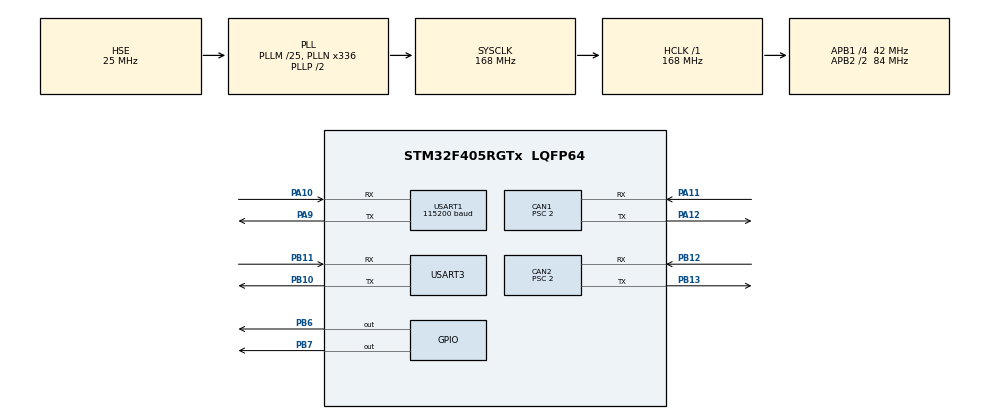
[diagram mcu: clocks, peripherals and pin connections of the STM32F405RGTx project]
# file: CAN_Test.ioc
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CAN1.ABOM=ENABLE
CAN1.AWUM=ENABLE
CAN1.BS1=CAN_BS1_16TQ
CAN1.BS2=CAN_BS2_4TQ
CAN1.CalculateBaudRate=1000000
CAN1.CalculateTimeBit=1000
CAN1.CalculateTimeQuantum=47.61904761904762
CAN1.Prescaler=2
CAN2.ABOM=ENABLE
CAN2.AWUM=ENABLE
CAN2.BS1=CAN_BS1_16TQ
CAN2.BS2=CAN_BS2_4TQ
CAN2.CalculateBaudRate=1000000
CAN2.CalculateTimeBit=1000
CAN2.CalculateTimeQuantum=47.61904761904762
CAN2.Prescaler=2
FREERTOS.Tasks01=defaultTask,0,128,StartDefaultTask,Default,NULL,Dynamic,NULL,NULL;printf_data,1,128,StartTask02,Default,NULL,Dynamic,NULL,NULL;protect,3,128,remote_protect,Default,NULL,Dynamic,NULL,NULL;bopan_change_po,1,128,bopan_change_position,Default,NULL,Dynamic,NULL,NULL
FREERTOS.configTOTAL_HEAP_SIZE=15360
Mcu.Family=STM32F4
Mcu.Name=STM32F405RGTx
Mcu.Package=LQFP64
NVIC.CAN1_RX0_IRQn=true\:5\:0\:true\:false\:true\:true\:true\:true\:true
NVIC.CAN2_RX1_IRQn=true\:5\:0\:true\:false\:true\:true\:true\:true\:true
NVIC.PriorityGroup=NVIC_PRIORITYGROUP_4
NVIC.TIM1_UP_TIM10_IRQn=true\:15\:0\:false\:false\:true\:false\:false\:true\:true
NVIC.TimeBase=TIM1_UP_TIM10_IRQn
NVIC.TimeBaseIP=TIM1
NVIC.USART3_IRQn=true\:6\:0\:true\:false\:true\:true\:true\:true\:true
PA10.Mode=Asynchronous
PA10.Signal=USART1_RX
PA11.Mode=CAN_Activate
PA11.Signal=CAN1_RX
PA12.Mode=CAN_Activate
PA12.Signal=CAN1_TX
PA13.Mode=Serial_Wire
PA13.Signal=SYS_JTMS-SWDIO
PA14.Mode=Serial_Wire
PA14.Signal=SYS_JTCK-SWCLK
PA9.Mode=Asynchronous
PA9.Signal=USART1_TX
PB10.Mode=Asynchronous
PB10.Signal=USART3_TX
PB11.Mode=Asynchronous
PB11.Signal=USART3_RX
PB12.Mode=CAN_Activate
PB12.Signal=CAN2_RX
PB13.Mode=CAN_Activate
PB13.Signal=CAN2_TX
PB6.GPIO_Speed=GPIO_SPEED_FREQ_HIGH
PB6.Signal=GPIO_Output
PB7.GPIO_Speed=GPIO_SPEED_FREQ_HIGH
PB7.Signal=GPIO_Output
PC14-OSC32_IN.Mode=LSE-External-Oscillator
PC14-OSC32_IN.Signal=RCC_OSC32_IN
PC15-OSC32_OUT.Mode=LSE-External-Oscillator
PC15-OSC32_OUT.Signal=RCC_OSC32_OUT
PH0-OSC_IN.Mode=HSE-External-Oscillator
PH0-OSC_IN.Signal=RCC_OSC_IN
PH1-OSC_OUT.Mode=HSE-External-Oscillator
PH1-OSC_OUT.Signal=RCC_OSC_OUT
ProjectManager.HeapSize=0x200
ProjectManager.StackSize=0x400
ProjectManager.TargetToolchain=MDK-ARM V5.32
RCC.48MHZClocksFreq_Value=84000000
RCC.AHBFreq_Value=168000000
RCC.APB1CLKDivider=RCC_HCLK_DIV4
RCC.APB1Freq_Value=42000000
RCC.APB1TimFreq_Value=84000000
RCC.APB2CLKDivider=RCC_HCLK_DIV2
RCC.APB2Freq_Value=84000000
RCC.APB2TimFreq_Value=168000000
RCC.CortexFreq_Value=168000000
RCC.HCLKFreq_Value=168000000
RCC.HSE_VALUE=25000000
RCC.HSI_VALUE=16000000
RCC.PLLM=25
RCC.PLLN=336
RCC.PLLSourceVirtual=RCC_PLLSOURCE_HSE
RCC.SYSCLKFreq_VALUE=168000000
RCC.SYSCLKSource=RCC_SYSCLKSOURCE_PLLCLK
RCC.VCOOutputFreq_Value=336000000
USART1.BaudRate=115200
USART1.VirtualMode=VM_ASYNC
USART3.VirtualMode=VM_ASYNC
VP_FREERTOS_VS_CMSIS_V1.Mode=CMSIS_V1
VP_SYS_VS_tim1.Mode=TIM1
board=custom

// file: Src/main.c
/* USER CODE BEGIN Header */
/**
  ******************************************************************************
  * @file           : main.c
  * @brief          : Main program body
  ******************************************************************************
  * @attention
  *
  * Copyright (c) 2025 STMicroelectronics.
  * All rights reserved.
  *
  * This software is licensed under terms that can be found in the LICENSE file
  * in the root directory of this software component.
  * If no LICENSE file comes with this software, it is provided AS-IS.
  *
  ******************************************************************************
  */
/* USER CODE END Header */
#include "main.h"
#include "cmsis_os.h"
#include "can.h"
#include "usart.h"
#include "gpio.h"

/* USER CODE BEGIN Includes */
#include "FS_remote_control_unit.h"
#include "IIC.h"
#include "inv_mpu.h"
#include "inv_mpu_dmp_motion_driver.h"
#include "mpu6050.h"
/* USER CODE END Includes */

/* USER CODE BEGIN PV */
extern uint8_t rx_buffer[32];
int flag;
/* USER CODE END PV */

void SystemClock_Config(void);
void MX_FREERTOS_Init(void);
/* USER CODE BEGIN PFP */
void can_filter_init(void);
/* USER CODE END PFP */

int main(void)
{

  /* MCU Configuration--------------------------------------------------------*/

  /* Reset of all peripherals, Initializes the Flash interface and the Systick. */
  HAL_Init();

  /* Configure the system clock */
  SystemClock_Config();

  /* Initialize all configured peripherals */
  MX_GPIO_Init();
  MX_CAN1_Init();
  MX_USART1_UART_Init();
  MX_USART3_UART_Init();
  MX_CAN2_Init();
  /* USER CODE BEGIN 2 */
	can_filter_init();
	MPU_Init();
	flag=mpu_dmp_init();
	// 开始接收 IBUS 数据
    HAL_UART_Receive_IT(&huart3, rx_buffer, 32);
  /* USER CODE END 2 */

  /* Call init function for freertos objects (in cmsis_os2.c) */
  MX_FREERTOS_Init();

  /* Start scheduler */
  osKernelStart();

  /* We should never get here as control is now taken by the scheduler */

  /* Infinite loop */
  while (1)
  {

  }
}

void SystemClock_Config(void)
{
  RCC_OscInitTypeDef RCC_OscInitStruct = {0};
  RCC_ClkInitTypeDef RCC_ClkInitStruct = {0};

  /** Configure the main internal regulator output voltage
  */
  __HAL_RCC_PWR_CLK_ENABLE();
  __HAL_PWR_VOLTAGESCALING_CONFIG(PWR_REGULATOR_VOLTAGE_SCALE1);

  /** Initializes the RCC Oscillators according to the specified parameters
  * in the RCC_OscInitTypeDef structure.
  */
  RCC_OscInitStruct.OscillatorType = RCC_OSCILLATORTYPE_HSE;
  RCC_OscInitStruct.HSEState = RCC_HSE_ON;
  RCC_OscInitStruct.PLL.PLLState = RCC_PLL_ON;
  RCC_OscInitStruct.PLL.PLLSource = RCC_PLLSOURCE_HSE;
  RCC_OscInitStruct.PLL.PLLM = 25;
  RCC_OscInitStruct.PLL.PLLN = 336;
  RCC_OscInitStruct.PLL.PLLP = RCC_PLLP_DIV2;
  RCC_OscInitStruct.PLL.PLLQ = 4;
  if (HAL_RCC_OscConfig(&RCC_OscInitStruct) != HAL_OK)
  {
    Error_Handler();
  }

  /** Initializes the CPU, AHB and APB buses clocks
  */
  RCC_ClkInitStruct.ClockType = RCC_CLOCKTYPE_HCLK|RCC_CLOCKTYPE_SYSCLK
                              |RCC_CLOCKTYPE_PCLK1|RCC_CLOCKTYPE_PCLK2;
  RCC_ClkInitStruct.SYSCLKSource = RCC_SYSCLKSOURCE_PLLCLK;
  RCC_ClkInitStruct.AHBCLKDivider = RCC_SYSCLK_DIV1;
  RCC_ClkInitStruct.APB1CLKDivider = RCC_HCLK_DIV4;
  RCC_ClkInitStruct.APB2CLKDivider = RCC_HCLK_DIV2;

  if (HAL_RCC_ClockConfig(&RCC_ClkInitStruct, FLASH_LATENCY_5) != HAL_OK)
  {
    Error_Handler();
  }
}

/* USER CODE BEGIN 4 */
void can_filter_init(void)
{
    CAN_FilterTypeDef can_filter_st;
    can_filter_st.FilterActivation = ENABLE;//Can1_filter_Init
    can_filter_st.FilterMode = CAN_FILTERMODE_IDMASK;
    can_filter_st.FilterScale = CAN_FILTERSCALE_32BIT;
    can_filter_st.FilterIdHigh = 0x0000;
    can_filter_st.FilterIdLow = 0x0000;
    can_filter_st.FilterMaskIdHigh = 0x0000;
    can_filter_st.FilterMaskIdLow = 0x0000;

    can_filter_st.FilterBank = 0;//Can1
    can_filter_st.FilterFIFOAssignment = CAN_RX_FIFO0;
    HAL_CAN_ConfigFilter(&hcan1, &can_filter_st);
    HAL_CAN_Start(&hcan1);
    HAL_CAN_ActivateNotification(&hcan1, CAN_IT_RX_FIFO0_MSG_PENDING);

		can_filter_st.FilterActivation = ENABLE;//Can2_filter_Init
    can_filter_st.FilterMode = CAN_FILTERMODE_IDMASK;
    can_filter_st.FilterScale = CAN_FILTERSCALE_32BIT;
    can_filter_st.FilterIdHigh = 0x0000;
    can_filter_st.FilterIdLow = 0x0000;
    can_filter_st.FilterMaskIdHigh = 0x0000;
    can_filter_st.FilterMaskIdLow = 0x0000;

    can_filter_st.FilterBank = 14;//Can2
		can_filter_st.SlaveStartFilterBank=14;
    can_filter_st.FilterFIFOAssignment = CAN_RX_FIFO1;
    HAL_CAN_ConfigFilter(&hcan2, &can_filter_st);
    HAL_CAN_Start(&hcan2);
    HAL_CAN_ActivateNotification(&hcan2, CAN_IT_RX_FIFO1_MSG_PENDING);
//	if(HAL_CAN_ActivateNotification(&hcan1, CAN_IT_RX_FIFO0_MSG_PENDING)!=HAL_OK)
//	{
//		printf("CAN_IT_Failed\n");
//	}
//	else
//	{
//		printf("CAN_IT_Success\n");
//	}

//		printf("can_filter_init_success\n");
}
/* USER CODE END 4 */

void HAL_TIM_PeriodElapsedCallback(TIM_HandleTypeDef *htim)
{
  if (htim->Instance == TIM1)
  {
    HAL_IncTick();
  }
}

void Error_Handler(void)
{
  __disable_irq();
  while (1)
  {
  }
}

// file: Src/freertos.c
/* USER CODE BEGIN Header */
/**
  ******************************************************************************
  * File Name          : freertos.c
  * Description        : Code for freertos applications
  ******************************************************************************
  * @attention
  *
  * Copyright (c) 2025 STMicroelectronics.
  * All rights reserved.
  *
  * This software is licensed under terms that can be found in the LICENSE file
  * in the root directory of this software component.
  * If no LICENSE file comes with this software, it is provided AS-IS.
  *
  ******************************************************************************
  */
/* USER CODE END Header */

//git branch dev
#include "FreeRTOS.h"
#include "task.h"
#include "main.h"
#include "cmsis_os.h"

/* USER CODE BEGIN Includes */
#include "usart.h"
#include "PID.h"
#include "inv_mpu.h"
#include "mpu6050.h"
#include "PID.h"
#include "inv_mpu.h"
#include "mpu6050.h"
//void can_filter_init(void);
/* USER CODE END Includes */

/* USER CODE BEGIN PD */
#define Remote_Protected_MAX_time 100//这里需要根据实际情况调整
/* USER CODE END PD */

/* USER CODE BEGIN Variables */
/*各个获取的数据*/
/*pitch电机*/
int16_t pitch_GetSpeed=0,pitch_GetAngle=0,pitch_GetCurrent=0,pitch_GetTemperature=0;
int16_t pitch_Last_Get_Real_Angle=0,pitch_Get_Real_Angle=0;//获取的真实值
/*yaw电机*/
int16_t yaw_GetSpeed=0,yaw_GetAngle=0,yaw_GetCurrent=0,yaw_GetTemperature=0;
int16_t yaw_Last_Get_Real_Angle=0,yaw_Get_Real_Angle=0;
/*左摩擦轮*/
int16_t left_mocan_GetSpeed=0,left_mocan_GetAngle=0,left_mocan_GetCurrent=0,left_mocan_GetTemperature=0;
int16_t left_mocan_Last_Get_Real_Angle=0,left_mocan_Get_Real_Angle=0;
/*右摩擦轮*/
int16_t right_mocan_GetSpeed=0,right_mocan_GetAngle=0,right_mocan_GetCurrent=0,right_mocan_GetTemperature=0;
int16_t right_mocan_Last_Get_Real_Angle=0,right_mocan_Get_Real_Angle=0;
/*拨盘电机*/
int16_t bopan_GetSpeed=0,bopan_GetCurrent=0,bopan_GetTemperature=0;
long long bopan_GetAngle=0;
int16_t bopan_Last_Get_Real_Angle=0,bopan_Get_Real_Angle=0;
short bopan_mode=0;//拨盘的模式，1是单发，2是连发
/*mpu的数据*/
float pitch,yaw,roll;
short pitch_speed,yaw_speed,roll_speed;

int16_t SetVoltage=12500;//这里是电压值。电压给定值范围：-25000~0~25000, 对应最大转矩电流范围 -3A~0~3A
int8_t pitch_number1=0,yaw_number2=0;//这里是圈数
int16_t bopan_number3=0;//这里是圈数

/*实验值*/
int16_t setspeed=150;
int16_t pitch_setposition=0;
int16_t yaw_setposition=0;
int16_t inner_yaw_setposition=0;
uint32_t bopan_setposition=0;

/*遥控保护标志位*/
uint8_t remote_protect_flag=0;//0是开启，1是关闭

/*其他的数据*/
int16_t times=0;//时间遥控保护

int16_t ABD=0;//圈数

extern uint8_t rx_buffer[32];//接收缓冲

extern uint16_t channels[32];//接收通道
extern uint16_t last_channels[32];

MOTOR_t pitch_motor_6020,inner_pitch_motor_6020,yaw_motor_6020,inner_yaw_motor_6020,left_mocan_2006,right_mocan_2006,bopan_3508,inner_bopan_3508;

//int pitch_motor_give_Voltage=0,yaw_give_Voltage=0,left_mocan_give_Voltage=0,right_mocan_give_Voltage=0,bopan_give_Voltage=0;

//uint16_t pitch
/* USER CODE END Variables */
osThreadId defaultTaskHandle;
osThreadId printf_dataHandle;
osThreadId protectHandle;
osThreadId bopan_change_poHandle;

void StartDefaultTask(void const * argument);
void StartTask02(void const * argument);
void remote_protect(void const * argument);
void bopan_change_position(void const * argument);

void MX_FREERTOS_Init(void); /* (MISRA C 2004 rule 8.1) */

/* GetIdleTaskMemory prototype (linked to static allocation support) */
void vApplicationGetIdleTaskMemory( StaticTask_t **ppxIdleTaskTCBBuffer, StackType_t **ppxIdleTaskStackBuffer, uint32_t *pulIdleTaskStackSize );

/* USER CODE BEGIN GET_IDLE_TASK_MEMORY */
static StaticTask_t xIdleTaskTCBBuffer;
static StackType_t xIdleStack[configMINIMAL_STACK_SIZE];

void vApplicationGetIdleTaskMemory( StaticTask_t **ppxIdleTaskTCBBuffer, StackType_t **ppxIdleTaskStackBuffer, uint32_t *pulIdleTaskStackSize )
{
  *ppxIdleTaskTCBBuffer = &xIdleTaskTCBBuffer;
  *ppxIdleTaskStackBuffer = &xIdleStack[0];
  *pulIdleTaskStackSize = configMINIMAL_STACK_SIZE;
  /* place for user code */
}
/* USER CODE END GET_IDLE_TASK_MEMORY */

void MX_FREERTOS_Init(void) {

  /* Create the thread(s) */
  /* definition and creation of defaultTask */
  osThreadDef(defaultTask, StartDefaultTask, osPriorityNormal, 0, 256);
  defaultTaskHandle = osThreadCreate(osThread(defaultTask), NULL);

  /* definition and creation of printf_data */
  osThreadDef(printf_data, StartTask02, osPriorityAboveNormal, 0, 128);
  printf_dataHandle = osThreadCreate(osThread(printf_data), NULL);

  /* definition and creation of protect */
  osThreadDef(protect, remote_protect, osPriorityRealtime, 0, 128);
  protectHandle = osThreadCreate(osThread(protect), NULL);

  /* definition and creation of bopan_change_po */
  osThreadDef(bopan_change_po, bopan_change_position, osPriorityAboveNormal, 0, 128);
  bopan_change_poHandle = osThreadCreate(osThread(bopan_change_po), NULL);

}

void StartDefaultTask(void const * argument)//这个是motor任务的代码
{
  /* USER CODE BEGIN StartDefaultTask */
	MOTOR_Init(&pitch_motor_6020);//赋予相应的PID值以及最大输出值
	MOTOR_Init(&yaw_motor_6020);
	MOTOR_Init(&left_mocan_2006);
	MOTOR_Init(&right_mocan_2006);
	MOTOR_Init(&bopan_3508);
	MOTOR_Init(&inner_pitch_motor_6020);
	MOTOR_Init(&inner_yaw_motor_6020);
	MOTOR_Init(&inner_bopan_3508);

	channels[1]=1500;
	channels[3]=1500;
	inner_pitch_motor_6020.give_Voltage=0;//默认上电就给电压为0
	inner_yaw_motor_6020.give_Voltage=0;
	left_mocan_2006.give_Voltage=0;
	right_mocan_2006.give_Voltage=0;
	inner_bopan_3508.give_Voltage=0;
  /* Infinite loop */
	for(;;)
  {
    //如果正常遥控的话，就计算给电压的值,否则就保护
		if(remote_protect_flag)
		{
			/*摩擦轮*/
			left_mocan_2006.Set_speed=(channels[1]-1500)*6000/500;
//			left_mocan_2006.Set_speed=setspeed;
			left_mocan_2006.speed=left_mocan_GetSpeed;//速度环
			left_mocan_2006.give_Voltage=(int16_t)PID_Speed_Calculate(&left_mocan_2006.speed_PID,left_mocan_2006.speed,left_mocan_2006.Set_speed);

		right_mocan_2006.Set_speed=(channels[1]-1500)*6000/500;
//			right_mocan_2006.Set_speed=setspeed;
			right_mocan_2006.speed=right_mocan_GetSpeed;//速度环
			right_mocan_2006.give_Voltage=(int16_t)PID_Speed_Calculate(&right_mocan_2006.speed_PID,right_mocan_2006.speed,right_mocan_2006.Set_speed);

    /*pitch和yaw轴*/
//		pitch_motor_6020.position=pitch_GetAngle;//位置环//高低
//		pitch_motor_6020.Set_position=(channels[2]-1000)*30/1000;
		pitch_motor_6020.position=pitch;//pitch外环（位置环）
		pitch_motor_6020.Set_position=pitch_setposition;
		pitch_motor_6020.give_Voltage=(int16_t)PID_Position_Calculate(&pitch_motor_6020.position_PID,pitch_motor_6020.position,pitch_motor_6020.Set_position);
		inner_pitch_motor_6020.speed=pitch_GetSpeed;//pitch内环（速度环）
		inner_pitch_motor_6020.Set_speed=pitch_motor_6020.give_Voltage;
		inner_pitch_motor_6020.give_Voltage=(int16_t)PID_Speed_Calculate(&inner_pitch_motor_6020.speed_PID,inner_pitch_motor_6020.speed,inner_pitch_motor_6020.Set_speed);

//		yaw_motor_6020.position=yaw_GetAngle;//位置环//左右
//		yaw_motor_6020.Set_position=(channels[0]-1000)*360/1000;
		yaw_motor_6020.position=yaw;//yaw外环（位置环）
		yaw_motor_6020.Set_position=yaw_setposition;
		yaw_motor_6020.give_Voltage=(int16_t)PID_Position_Calculate(&yaw_motor_6020.position_PID,yaw_motor_6020.position,yaw_motor_6020.Set_position);
		inner_yaw_motor_6020.speed=yaw_GetSpeed;//yaw内环（速度环）
		inner_yaw_motor_6020.Set_speed=yaw_motor_6020.give_Voltage;
//		inner_yaw_motor_6020.Set_speed=inner_yaw_setposition;
		inner_yaw_motor_6020.give_Voltage=(int16_t)PID_Speed_Calculate(&inner_yaw_motor_6020.speed_PID,inner_yaw_motor_6020.speed,inner_yaw_motor_6020.Set_speed);

		/*拨盘电机*/
//		bopan_3508.position=bopan_GetAngle;//位置环//左右
//		bopan_3508.Set_position=(channels[3]-1000)*360/1000;//这里的通道尚未确定，先给为3通道

		bopan_3508.position=bopan_GetAngle;//bopan外环（位置环）
		bopan_3508.Set_position=bopan_setposition;
		bopan_3508.give_Voltage=(int16_t)PID_Position_Calculate(&bopan_3508.position_PID,bopan_3508.position,bopan_3508.Set_position);
		inner_bopan_3508.speed=bopan_GetSpeed;//bopan内环（速度环）
		inner_bopan_3508.Set_speed=bopan_3508.give_Voltage;
		inner_bopan_3508.give_Voltage=(int16_t)PID_Speed_Calculate(&inner_bopan_3508.speed_PID,inner_bopan_3508.speed,inner_bopan_3508.Set_speed);
		}
		else//否则保护
		{
			inner_pitch_motor_6020.give_Voltage=0;
			inner_yaw_motor_6020.give_Voltage=0;
			left_mocan_2006.give_Voltage=0;
			right_mocan_2006.give_Voltage=0;
			inner_bopan_3508.give_Voltage=0;
		}

		/*控制pitch电机电压(CAN1)*/
    CAN_TxHeaderTypeDef pHeader1;
		pHeader1.StdId = 0x1FF;
		pHeader1.IDE = CAN_ID_STD;
		pHeader1.RTR = CAN_RTR_DATA;
		pHeader1.DLC = 0x08;

		pHeader1.StdId = 0x1FF;
		pHeader1.IDE = CAN_ID_STD;
		pHeader1.RTR = CAN_RTR_DATA;
		pHeader1.DLC = 0x08;

		uint8_t aData[8]={0};
		aData[0] = 0;
		aData[1] = 0;
		aData[2] = inner_pitch_motor_6020.give_Voltage >> 8;
		aData[3] = inner_pitch_motor_6020.give_Voltage ;
		aData[4] = 0;
		aData[0] = 0;
		aData[1] = 0;
		aData[2] = inner_pitch_motor_6020.give_Voltage >> 8;
		aData[3] = inner_pitch_motor_6020.give_Voltage ;
		aData[4] = 0;
		aData[5] = 0;
		aData[6] = 0;
		aData[6] = 0;
		aData[7] = 0;

		HAL_CAN_AddTxMessage(&hcan1, &pHeader1, aData, 0);

		/*控制左右摩擦轮和拨盘电机电压(CAN1)*/
		CAN_TxHeaderTypeDef pHeader3;
		pHeader3.StdId = 0x200;
		pHeader3.IDE = CAN_ID_STD;
		pHeader3.RTR = CAN_RTR_DATA;
		pHeader3.DLC = 0x08;

		uint8_t cData[8]={0};
		cData[0] = left_mocan_2006.give_Voltage>>8;
		cData[1] = left_mocan_2006.give_Voltage;
		cData[2] = right_mocan_2006.give_Voltage >> 8;
		cData[3] = right_mocan_2006.give_Voltage ;
		cData[4] = inner_bopan_3508.give_Voltage>>8;
		cData[5] = inner_bopan_3508.give_Voltage;
		cData[6] = 0;
		cData[7] = 0;

		HAL_CAN_AddTxMessage(&hcan1, &pHeader3, cData, 0);

		/*控制yaw电机电压(CAN2)*/
		CAN_TxHeaderTypeDef pHeader2;
		pHeader2.StdId = 0x1FF;
		pHeader2.IDE = CAN_ID_STD;
		pHeader2.RTR = CAN_RTR_DATA;
		pHeader2.DLC = 0x08;

		uint8_t bData[8]={0};
		bData[0] = 0;
		bData[1] = 0;
		bData[2] = 0;
		bData[3] = 0;
		bData[4] = 0;
		bData[5] = 0;
		bData[6] = inner_yaw_motor_6020.give_Voltage >> 8;
		bData[7] = inner_yaw_motor_6020.give_Voltage;

		HAL_CAN_AddTxMessage(&hcan2, &pHeader2, bData, 0);

  }
  /* USER CODE END StartDefaultTask */
}

void StartTask02(void const * argument)//打印并关电时间
{
  /* USER CODE BEGIN StartTask02 */
  /* Infinite loop */
  for(;;)
  {
//		printf("Rpm:%d,Speed:%d,Current:%d,Temperature:%d\n", GetRpm,GetSpeed,GetCurrent,GetTemperature);  // 两个 %d，两个参数
//		printf("%f,%d,%d,%d,%f,%f,%f,%f\n", yaw,yaw_setposition,yaw_GetSpeed,yaw_motor_6020.give_Voltage,bopan_3508.position,bopan_3508.Set_position,inner_bopan_3508.speed,inner_bopan_3508.Set_speed);  //打印
		printf("%d,%d,%d,%d,%d\n",(int)bopan_3508.position,(int)bopan_3508.Set_position,(int)inner_bopan_3508.speed,(int)inner_bopan_3508.Set_speed,bopan_GetCurrent);  //打印
		HAL_UART_Receive_IT(&huart3,rx_buffer,32);
		mpu_dmp_get_data(&pitch,&roll,&yaw);
		MPU_Get_Gyroscope(&roll_speed,&pitch_speed,&yaw_speed);
		if(channels[0]==last_channels[0]&&channels[1]==last_channels[1]&&channels[2]==last_channels[2]&&channels[3]==last_channels[3]&&channels[4]==last_channels[4]&&channels[5]==last_channels[5])//时间保护
		{
			times++;
		}
		else
		{
			for(int i=0;i<14;i++)
			{
				last_channels[i]=channels[i];
			}
			times=0;
		}
		osDelay(1);
  }
  /* USER CODE END StartTask02 */
}

void remote_protect(void const * argument)
{
  /* USER CODE BEGIN remote_protect */
  /* Infinite loop */
  for(;;)
  {
    if(channels[0]==1500&&channels[1]==1501&&channels[2]==1500&&channels[3]==1498&&channels[4]==1000&&channels[5]==1000)//遥控保护相关的，判断的值通过遥控器设定(值保护)
		{
			inner_pitch_motor_6020.give_Voltage=0;
			inner_yaw_motor_6020.give_Voltage=0;
			left_mocan_2006.give_Voltage=0;
			right_mocan_2006.give_Voltage=0;
			inner_bopan_3508.give_Voltage=0;
			remote_protect_flag=0;
		}
		else if(times>=1000)//时间遥控保护(时间计算在打印那里)
		{
			inner_pitch_motor_6020.give_Voltage=0;
			inner_yaw_motor_6020.give_Voltage=0;
			left_mocan_2006.give_Voltage=0;
			right_mocan_2006.give_Voltage=0;
			inner_bopan_3508.give_Voltage=0;
			remote_protect_flag=0;
		}
		else
		{
			remote_protect_flag=1;
		}
		osDelay(1);
  }
  /* USER CODE END remote_protect */
}

void bopan_change_position(void const * argument)
{
  /* USER CODE BEGIN bopan_change_position */
  /* Infinite loop */
  for(;;)
  {
    if(channels[3]<1200)//设置单发
		{
			bopan_mode=1;
		}
		else if(channels[3]>1800)//设置连发
		{
			bopan_mode=2;
		}
		else if(channels[3]>=1200&&channels[3]<=1800)//不发射
		{
			bopan_mode=0;
		}
		if(bopan_mode==1)
		{
			bopan_setposition+=1080;
			bopan_mode=0;
		}
		else if(bopan_mode==2)
		{
			bopan_setposition+=1080;
		}
		osDelay(50);
  }
  /* USER CODE END bopan_change_position */
}

/* USER CODE BEGIN Application */
/*后面这堆函数都是获取数据*/
/*后面这堆函数都是获取数据*/
void HAL_CAN_RxFifo0MsgPendingCallback(CAN_HandleTypeDef *hcan)//回调函数
{
CAN_RxHeaderTypeDef rx_header;
    uint8_t rx_data[8]={0};
    HAL_CAN_GetRxMessage(&hcan1, CAN_FILTER_FIFO0, &rx_header, rx_data);//将数据存放于rx_data数组中

		switch (rx_header.StdId)//这个以及下面自己发挥
    {

        case 0x206://根据电机具体id号设置 0x204+id(6020手册上找)//pitch轴
        case 0x206://根据电机具体id号设置 0x204+id(6020手册上找)//pitch轴
        {
             pitch_Last_Get_Real_Angle=pitch_Get_Real_Angle;
						pitch_Get_Real_Angle=((uint16_t)((rx_data)[0] << 8 | (rx_data)[1]))*360/8192;
            pitch_GetSpeed = (uint16_t)((rx_data)[2] << 8 | (rx_data)[3]); // 根据手册 2、3 位分别为电机转速的高八位、低八位
            pitch_GetCurrent=(uint16_t)((rx_data)[4] << 8 | (rx_data)[5]);
            pitch_GetTemperature=(uint16_t) (rx_data)[6] ;
					if(pitch_Last_Get_Real_Angle-pitch_Get_Real_Angle>200)
						{
								pitch_number1++;
						}
						if(pitch_Last_Get_Real_Angle-pitch_Get_Real_Angle<-200)
						{
							pitch_number1--;
						}
						pitch_GetAngle=pitch_Get_Real_Angle+pitch_number1*360;
            break;																										// 此处是将两个数据合并为一个数据
        }
				case 0x201://0x200+id左摩擦轮
				{
					left_mocan_Get_Real_Angle=left_mocan_Get_Real_Angle;
						left_mocan_Get_Real_Angle=((uint16_t)((rx_data)[0] << 8 | (rx_data)[1]))*360/8192;
            left_mocan_GetSpeed = (uint16_t)((rx_data)[2] << 8 | (rx_data)[3]); // 根据手册 2、3 位分别为电机转速的高八位、低八位
            left_mocan_GetCurrent=(uint16_t)((rx_data)[4] << 8 | (rx_data)[5]);
            left_mocan_GetTemperature=(uint16_t) (rx_data)[6] ;
            break;																										// 此处是将两个数据合并为一个数据
				}
				case 0x202://右摩擦轮
				{
						right_mocan_Get_Real_Angle=right_mocan_Get_Real_Angle;
						right_mocan_Get_Real_Angle=((uint16_t)((rx_data)[0] << 8 | (rx_data)[1]))*360/8192;
            right_mocan_GetSpeed = (uint16_t)((rx_data)[2] << 8 | (rx_data)[3]); // 根据手册 2、3 位分别为电机转速的高八位、低八位
            right_mocan_GetCurrent=(uint16_t)((rx_data)[4] << 8 | (rx_data)[5]);
            right_mocan_GetTemperature=(uint16_t) (rx_data)[6] ;
            break;																										// 此处是将两个数据合并为一个数据
				}
				case 0x203://拨盘
				{
						bopan_Last_Get_Real_Angle=bopan_Get_Real_Angle;
						bopan_Get_Real_Angle=((uint16_t)((rx_data)[0] << 8 | (rx_data)[1]))*360/8192;
            bopan_GetSpeed = (uint16_t)((rx_data)[2] << 8 | (rx_data)[3]); // 根据手册 2、3 位分别为电机转速的高八位、低八位
            bopan_GetCurrent=(uint16_t)((rx_data)[4] << 8 | (rx_data)[5]);
            bopan_GetTemperature=(uint16_t) (rx_data)[6] ;
						if(bopan_Last_Get_Real_Angle-bopan_Get_Real_Angle>330)
						{
								bopan_number3++;
						}
						if(bopan_Last_Get_Real_Angle-bopan_Get_Real_Angle<-330)
						{
							bopan_number3--;
						}
						bopan_GetAngle=bopan_Get_Real_Angle+bopan_number3*360;
            break;																										// 此处是将两个数据合并为一个数据
				}

    }
//	GetSpeed = (uint16_t)((rx_data)[2] << 8 | (rx_data)[3]); // 根据手册 2、3 位分别为电机转速的高八位、低八位
}

void HAL_CAN_RxFifo1MsgPendingCallback(CAN_HandleTypeDef *hcan)//回调函数
{
    CAN_RxHeaderTypeDef rx_header;
    uint8_t rx_data[8]={0};
    HAL_CAN_GetRxMessage(&hcan2, CAN_FILTER_FIFO1, &rx_header, rx_data);//将数据存放于rx_data数组中

    switch (rx_header.StdId)//这个以及下面自己发挥
    {

        case 0x208://根据电机具体id号设置 0x204+id(6020手册上找)
        {
             yaw_Last_Get_Real_Angle=yaw_Get_Real_Angle;
						yaw_Get_Real_Angle=((uint16_t)((rx_data)[0] << 8 | (rx_data)[1]))*360/8192;
            yaw_GetSpeed = (uint16_t)((rx_data)[2] << 8 | (rx_data)[3]); // 根据手册 2、3 位分别为电机转速的高八位、低八位
            yaw_GetCurrent=(uint16_t)((rx_data)[4] << 8 | (rx_data)[5]);
            yaw_GetTemperature=(uint16_t) (rx_data)[6] ;
					if(yaw_Last_Get_Real_Angle-yaw_Get_Real_Angle>200)
						{
								yaw_number2++;
						}
						if(yaw_Last_Get_Real_Angle-yaw_Get_Real_Angle<-200)
						{
							yaw_number2--;
						}
						yaw_GetAngle=yaw_Get_Real_Angle+yaw_number2*360;
            break;																										// 此处是将两个数据合并为一个数据
        }

    }
//	GetSpeed = (uint16_t)((rx_data)[2] << 8 | (rx_data)[3]); // 根据手册 2、3 位分别为电机转速的高八位、低八位
}

void HAL_CAN_RxFifo1MsgPendingCallback(CAN_HandleTypeDef *hcan)//回调函数
{
    CAN_RxHeaderTypeDef rx_header;
    uint8_t rx_data[8]={0};
    HAL_CAN_GetRxMessage(&hcan2, CAN_FILTER_FIFO1, &rx_header, rx_data);//将数据存放于rx_data数组中

    switch (rx_header.StdId)//这个以及下面自己发挥
    {

        case 0x208://根据电机具体id号设置 0x204+id(6020手册上找)
        {
             Last_Get_Real_Angle2=Get_Real_Angle2;
						Get_Real_Angle2=((uint16_t)((rx_data)[0] << 8 | (rx_data)[1]))*360/8192;
            GetSpeed2 = (uint16_t)((rx_data)[2] << 8 | (rx_data)[3]); // 根据手册 2、3 位分别为电机转速的高八位、低八位
            GetCurrent2=(uint16_t)((rx_data)[4] << 8 | (rx_data)[5]);
            GetTemperature2=(uint16_t) (rx_data)[6] ;
					if(Last_Get_Real_Angle2-Get_Real_Angle2>200)
						{
								number2++;
						}
						if(Last_Get_Real_Angle2-Get_Real_Angle2<-200)
						{
							number2--;
						}
						GetAngle2=Get_Real_Angle2+number2*360;
            break;																										// 此处是将两个数据合并为一个数据
        }

    }

	}

/* USER CODE END Application */
